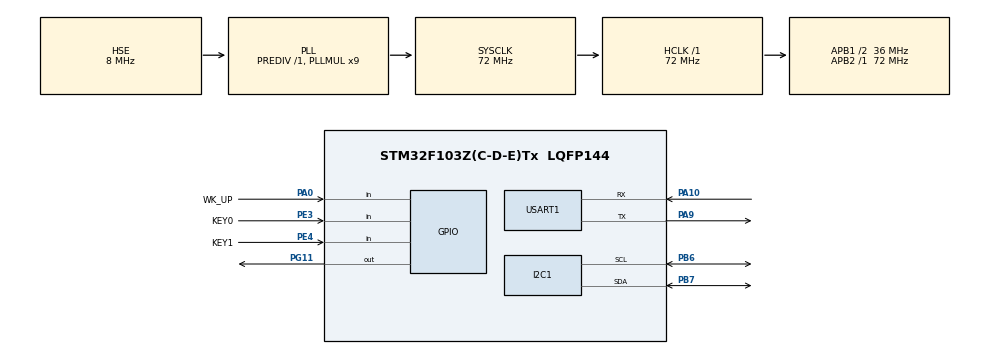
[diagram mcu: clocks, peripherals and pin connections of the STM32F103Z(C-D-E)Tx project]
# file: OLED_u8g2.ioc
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Dma.I2C1_TX.0.Direction=DMA_MEMORY_TO_PERIPH
Dma.I2C1_TX.0.Instance=DMA1_Channel6
Dma.I2C1_TX.0.MemDataAlignment=DMA_MDATAALIGN_BYTE
Dma.I2C1_TX.0.MemInc=DMA_MINC_ENABLE
Dma.I2C1_TX.0.Mode=DMA_NORMAL
Dma.I2C1_TX.0.PeriphDataAlignment=DMA_PDATAALIGN_BYTE
Dma.I2C1_TX.0.PeriphInc=DMA_PINC_DISABLE
Dma.I2C1_TX.0.Priority=DMA_PRIORITY_HIGH
Dma.Request0=I2C1_TX
I2C1.I2C_Mode=I2C_Fast
Mcu.Family=STM32F1
Mcu.Name=STM32F103Z(C-D-E)Tx
Mcu.Package=LQFP144
NVIC.DMA1_Channel6_IRQn=true\:0\:0\:false\:false\:true\:false\:true\:true
NVIC.I2C1_EV_IRQn=true\:0\:0\:false\:false\:true\:true\:true\:true
NVIC.PriorityGroup=NVIC_PRIORITYGROUP_4
OSC_IN.Mode=HSE-External-Oscillator
OSC_IN.Signal=RCC_OSC_IN
OSC_OUT.Mode=HSE-External-Oscillator
OSC_OUT.Signal=RCC_OSC_OUT
PA0-WKUP.GPIO_Label=WK_UP
PA0-WKUP.Signal=GPIO_Input
PA10.Mode=Asynchronous
PA10.Signal=USART1_RX
PA13.Mode=Serial_Wire
PA13.Signal=SYS_JTMS-SWDIO
PA14.Mode=Serial_Wire
PA14.Signal=SYS_JTCK-SWCLK
PA9.Mode=Asynchronous
PA9.Signal=USART1_TX
PB6.Mode=I2C
PB6.Signal=I2C1_SCL
PB7.Mode=I2C
PB7.Signal=I2C1_SDA
PE3.GPIO_Label=KEY0
PE3.GPIO_PuPd=GPIO_PULLUP
PE3.Signal=GPIO_Input
PE4.GPIO_Label=KEY1
PE4.GPIO_PuPd=GPIO_PULLUP
PE4.Signal=GPIO_Input
PG11.GPIO_PuPd=GPIO_PULLUP
PG11.GPIO_Speed=GPIO_SPEED_FREQ_HIGH
PG11.PinState=GPIO_PIN_SET
PG11.Signal=GPIO_Output
ProjectManager.HeapSize=0x200
ProjectManager.StackSize=0x400
ProjectManager.TargetToolchain=MDK-ARM V5.32
RCC.AHBFreq_Value=72000000
RCC.APB1CLKDivider=RCC_HCLK_DIV2
RCC.APB1Freq_Value=36000000
RCC.APB1TimFreq_Value=72000000
RCC.APB2Freq_Value=72000000
RCC.APB2TimFreq_Value=72000000
RCC.HCLKFreq_Value=72000000
RCC.PLLMUL=RCC_PLL_MUL9
RCC.PLLSourceVirtual=RCC_PLLSOURCE_HSE
RCC.SYSCLKFreq_VALUE=72000000
RCC.SYSCLKSource=RCC_SYSCLKSOURCE_PLLCLK
RCC.USBFreq_Value=72000000
TIM6.Prescaler=7200 - 1
USART1.VirtualMode=VM_ASYNC
VP_TIM6_VS_ClockSourceINT.Mode=Enable_Timer
board=custom

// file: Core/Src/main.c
/*
 * @version: V1.0.0
 * @Author: harmsworth
 * @Date: 2023-03-27 13:07:17
 * @LastEditors: harmsworth
 * @LastEditTime: 2023-03-27 14:49:57
 * @company: null
 * @Mailbox: jojoharmsworth@gmail.com
 * @FilePath: \MDK-ARMg:\Program\Stm32\Projects\OLED_Menu_u8g2\Core\Src\main.c
 * @Descripttion:
 */
/*
 * @version: V1.0.0
 * @Author: harmsworth
 * @Date: 2023-03-20 09:51:44
 * @LastEditors: harmsworth
 * @LastEditTime: 2023-03-27 13:44:37
 * @company: null
 * @Mailbox: jojoharmsworth@gmail.com
 * @FilePath: \MDK-ARMg:\Program\Stm32\Projects\OLED_Menu_u8g2\Core\Src\main.c
 * @Descripttion:
 */
/* USER CODE BEGIN Header */
/**
 ******************************************************************************
 * @file           : main.c
 * @brief          : Main program body
 ******************************************************************************
 * @attention
 *
 * Copyright (c) 2023 STMicroelectronics.
 * All rights reserved.
 *
 * This software is licensed under terms that can be found in the LICENSE file
 * in the root directory of this software component.
 * If no LICENSE file comes with this software, it is provided AS-IS.
 *
 ******************************************************************************
 */
/* USER CODE END Header */
#include "main.h"
#include "dma.h"
#include "i2c.h"
#include "tim.h"
#include "usart.h"
#include "gpio.h"

/* USER CODE BEGIN Includes */
#include "oled.h"
#include "u8g2.h"
#include "u8x8.h"
#include "key.h"
#include "ui.h"
#include "directory.h"
#include "bh1750.h"
#include "dht11.h"
#include <stdio.h>
#include <string.h>
/* USER CODE END Includes */

/* USER CODE BEGIN PV */
uint8_t temp = 22;
uint8_t humi = 22;
u8g2_t u8g2;

struct
{
  menu_t *current_pointer; // 当前链表位置
  int ctrl;
  char input;
} sys_info;
/* USER CODE END PV */

void SystemClock_Config(void);
/* USER CODE BEGIN PFP */
void key0_callbackFunction(struct my_key *key);
void key1_callbackFunction(struct my_key *key);
menu_t *menuInit(void);
void menuPrint(void);
void infoGroupFunction(void);
void nullFunction(void);
/* USER CODE END PFP */

int main(void)
{
  /* USER CODE BEGIN 1 */
  static struct my_key key0 = {0}, key1 = {0};

  /* USER CODE END 1 */

  /* MCU Configuration--------------------------------------------------------*/

  /* Reset of all peripherals, Initializes the Flash interface and the Systick. */
  HAL_Init();

  /* Configure the system clock */
  SystemClock_Config();

  /* Initialize all configured peripherals */
  MX_GPIO_Init();
  MX_DMA_Init();
  MX_I2C1_Init();
  MX_USART1_UART_Init();
  MX_TIM6_Init();
  /* USER CODE BEGIN 2 */

  OLED_Init();
  DHT11_Init();
  bh1750_config();
  // a structure which will contain all the data for one display
  u8g2_Setup_ssd1306_i2c_128x64_noname_1(&u8g2, U8G2_R0, u8x8_byte_i2c, u8x8_gpio_and_delay); // init u8g2 structure
  u8g2_InitDisplay(&u8g2);                                                                    // send init sequence to the display, display is in sleep mode after this,
  u8g2_SetPowerSave(&u8g2, 0);

  key0.cb = key0_callbackFunction;
  key1.cb = key1_callbackFunction;
  my_button_register(&key0);
  my_button_register(&key1);

  menu_t *menuHeadNode = menuInit();
  /* USER CODE END 2 */

  /* Infinite loop */
  while (1)
  {

    /* USER CODE BEGIN 3 */
    // int i = 10;
    // u8g2_FirstPage(&u8g2);
    // do
    // {
    // dataDisplay(&u8g2);

    // } while (u8g2_NextPage(&u8g2));
    // keyScan();

    key_scan_v2();
    // menuPrint();
    u8g2_FirstPage(&u8g2);
    do
    {

      menu_oled(sys_info.current_pointer);
    } while (u8g2_NextPage(&u8g2));
  }
  /* USER CODE END 3 */
}

void SystemClock_Config(void)
{
  RCC_OscInitTypeDef RCC_OscInitStruct = {0};
  RCC_ClkInitTypeDef RCC_ClkInitStruct = {0};

  /** Initializes the RCC Oscillators according to the specified parameters
   * in the RCC_OscInitTypeDef structure.
   */
  RCC_OscInitStruct.OscillatorType = RCC_OSCILLATORTYPE_HSE;
  RCC_OscInitStruct.HSEState = RCC_HSE_ON;
  RCC_OscInitStruct.HSEPredivValue = RCC_HSE_PREDIV_DIV1;
  RCC_OscInitStruct.HSIState = RCC_HSI_ON;
  RCC_OscInitStruct.PLL.PLLState = RCC_PLL_ON;
  RCC_OscInitStruct.PLL.PLLSource = RCC_PLLSOURCE_HSE;
  RCC_OscInitStruct.PLL.PLLMUL = RCC_PLL_MUL9;
  if (HAL_RCC_OscConfig(&RCC_OscInitStruct) != HAL_OK)
  {
    Error_Handler();
  }

  /** Initializes the CPU, AHB and APB buses clocks
   */
  RCC_ClkInitStruct.ClockType = RCC_CLOCKTYPE_HCLK | RCC_CLOCKTYPE_SYSCLK | RCC_CLOCKTYPE_PCLK1 | RCC_CLOCKTYPE_PCLK2;
  RCC_ClkInitStruct.SYSCLKSource = RCC_SYSCLKSOURCE_PLLCLK;
  RCC_ClkInitStruct.AHBCLKDivider = RCC_SYSCLK_DIV1;
  RCC_ClkInitStruct.APB1CLKDivider = RCC_HCLK_DIV2;
  RCC_ClkInitStruct.APB2CLKDivider = RCC_HCLK_DIV1;

  if (HAL_RCC_ClockConfig(&RCC_ClkInitStruct, FLASH_LATENCY_2) != HAL_OK)
  {
    Error_Handler();
  }
}

/* USER CODE BEGIN 4 */
void key0_callbackFunction(struct my_key *key)
{
  switch (key->event)
  {
  case CLICK: // 下
    usart_print(&huart1, "key0单击\r\n");
    if (sys_info.current_pointer->sibling_next != NULL)
      sys_info.current_pointer = sys_info.current_pointer->sibling_next;
    break;
  case DOUBLE_CLICK:
    usart_print(&huart1, "key0双击\r\n");
    break;
  case LONG_CLICK:
    usart_print(&huart1, "key0长按\r\n");
    break;
  default:
    break;
  }
}

void key1_callbackFunction(struct my_key *key)
{
  switch (key->event)
  {
  case CLICK: // 上
    usart_print(&huart1, "key1单击\r\n");
    if (sys_info.current_pointer->sibling_last != NULL)
      sys_info.current_pointer = sys_info.current_pointer->sibling_last;
    break;
  case DOUBLE_CLICK: // 确认，进入 或 触发函数
    usart_print(&huart1, "key1双击\r\n");
    if (sys_info.current_pointer->child != NULL)
      sys_info.current_pointer = sys_info.current_pointer->child;
    else
      sys_info.current_pointer->itemFunction();
    break;
  case LONG_CLICK: // 取消，返回
    usart_print(&huart1, "key1长按\r\n");
    if (sys_info.current_pointer->parent != NULL)
      sys_info.current_pointer = sys_info.current_pointer->parent;
    break;
  default:
    break;
  }
}

menu_t *menuInit(void)
{
  menu_t *headNode = NULL;
  headNode = add_sibling_item(headNode, nullFunction, "添加头节点");

  menu_t *first = add_child_item(headNode, "item1", nullFunction, 0);
  add_sibling_item(first, nullFunction, "item2");
  add_sibling_item(first, nullFunction, "item3");

  menu_t *second = add_child_item(first, "info", infoGroupFunction, 0);
  add_sibling_item(second, nullFunction, "system");
  add_sibling_item(second, nullFunction, "justice");

  sys_info.current_pointer = first;
  return headNode;
}

void menuPrint(void)
{
  menu_t *tPointer = sys_info.current_pointer;
  while (tPointer->sibling_last != NULL)
  {
    tPointer = tPointer->sibling_last;
  }

  usart_print(&huart1, "\r\n*********************************************************\r\n");
  usart_print(&huart1, "\r\n");
  usart_print(&huart1, "\r\n");
  do
  {
    if (sys_info.current_pointer == tPointer)
      usart_print(&huart1, ">\t%s\r\n", tPointer->item_name);
    else
      usart_print(&huart1, "\t%s\r\n", tPointer->item_name);
    tPointer = tPointer->sibling_next;

  } while (tPointer != NULL);
  usart_print(&huart1, "\r\n");
  usart_print(&huart1, "\r\n*********************************************************\r\n");
}

void menuOLED(void)
{
  menu_t *p = sys_info.current_pointer;
  while (p->sibling_last != NULL)
  {
    p = p->sibling_last;
  }
}

void infoGroupFunction(void)
{
  DHT11_Data_TypeDef DHT11Data;
  uint16_t light = 0;

  while (HAL_GPIO_ReadPin(KEY0_GPIO_Port, KEY0_Pin) == SET)
  {
    if (DHT11_Read_TempAndHumidity(&DHT11Data) != SUCCESS)
      usart_print(&huart1, "failed!");
    light = Get_BH1750_Value();

    u8g2_FirstPage(&u8g2);
    do
    {
      char strBuff[128];
      u8g2_ClearBuffer(&u8g2);
      u8g2_SetFont(&u8g2, u8g2_font_6x10_tf);
      sprintf(strBuff, "tempture: %d.%d °C", DHT11Data.temp_int, DHT11Data.temp_deci);
      u8g2_DrawUTF8(&u8g2, 1, 15, strBuff);
      sprintf(strBuff, "humidity: %d.%d %%RH", DHT11Data.humi_int, DHT11Data.humi_deci);
      u8g2_DrawUTF8(&u8g2, 1, 25, strBuff);
      sprintf(strBuff, "illumination: %d lx", light);
      u8g2_DrawUTF8(&u8g2, 1, 35, strBuff);
      u8g2_SendBuffer(&u8g2);
    } while (u8g2_NextPage(&u8g2));
  }
}

void nullFunction(void)
{
  return;
}
/* USER CODE END 4 */

void Error_Handler(void)
{
  __disable_irq();
  while (1)
  {
  }
}
